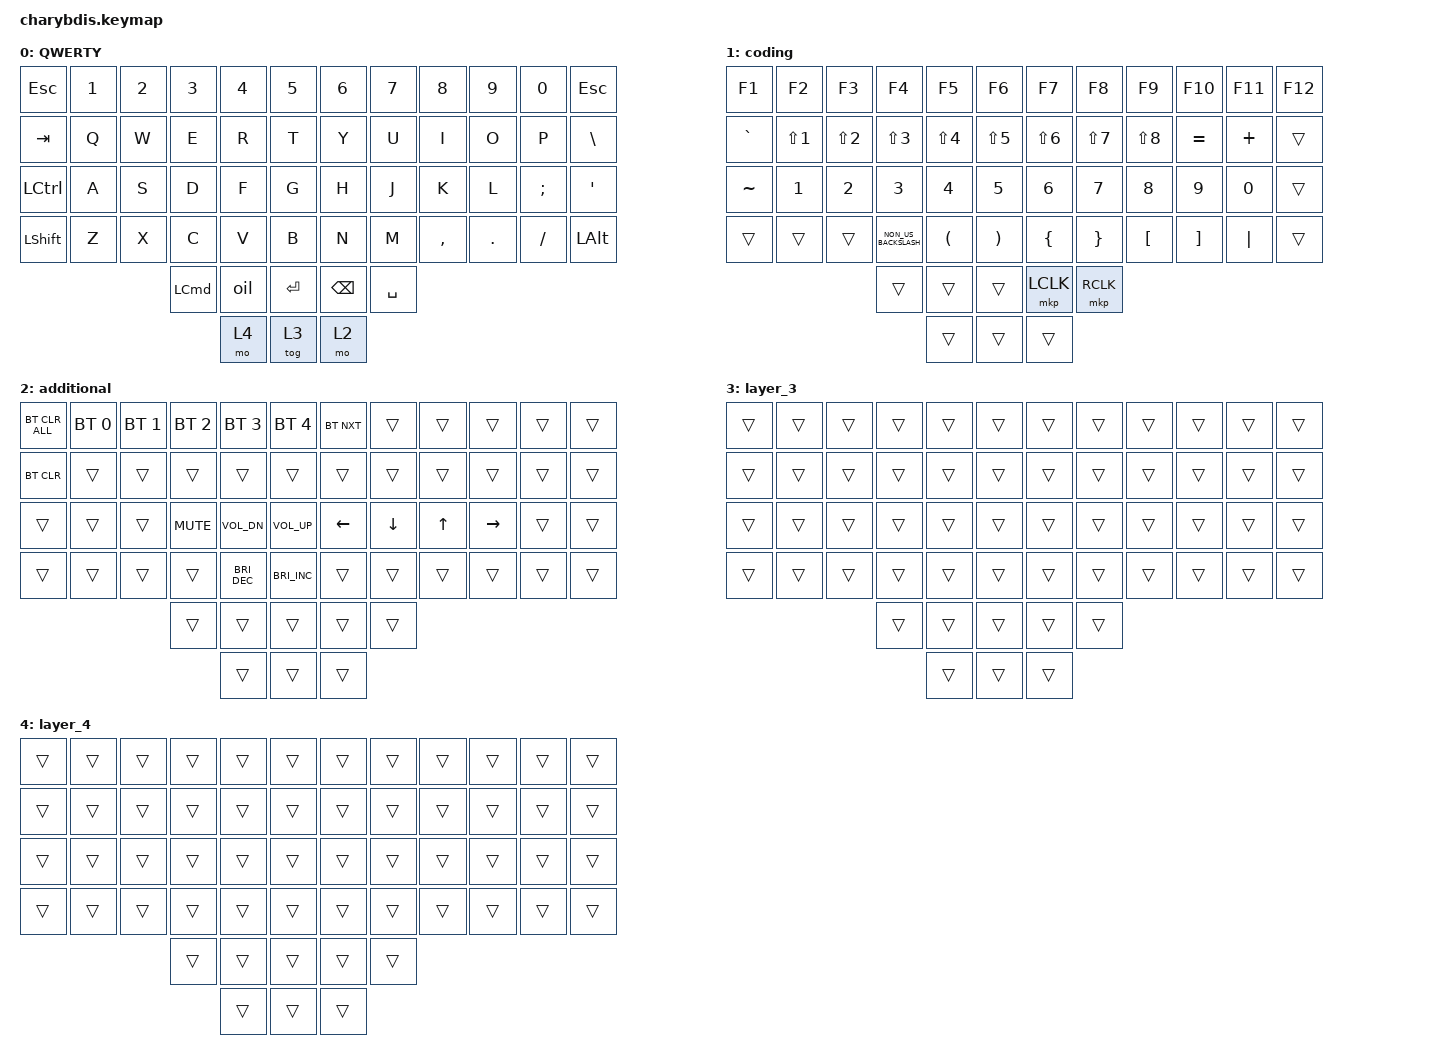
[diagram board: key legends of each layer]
#include <behaviors.dtsi>
#include <dt-bindings/zmk/bt.h>
#include <dt-bindings/zmk/keys.h>
#include <dt-bindings/zmk/pointing.h>

/ {
    behaviors {
        oil: oil {
            compatible = "zmk,behavior-tap-dance";
            label = "OIL";
            #binding-cells = <0>;
            tapping-term-ms = <200>;
            bindings = <&lt 1 MINUS>;
        };
    };

    keymap {
        compatible = "zmk,keymap";

        QWERTY {
            bindings = <
&kp ESC         &kp N1  &kp N2  &kp N3            &kp N4  &kp N5        &kp N6         &kp N7     &kp N8     &kp N9   &kp N0    &kp ESCAPE
&kp TAB         &kp Q   &kp W   &kp E             &kp R   &kp T         &kp Y          &kp U      &kp I      &kp O    &kp P     &kp BSLH
&kp LCTRL       &kp A   &kp S   &kp D             &kp F   &kp G         &kp H          &kp J      &kp K      &kp L    &kp SEMI  &kp SQT
&kp LEFT_SHIFT  &kp Z   &kp X   &kp C             &kp V   &kp B         &kp N          &kp M      &kp COMMA  &kp DOT  &kp FSLH  &kp LEFT_ALT
                                &kp LEFT_COMMAND  &oil    &kp RETURN    &kp BACKSPACE  &kp SPACE
                                                  &mo 4   &tog 3        &mo 2
            >;
        };

        coding {
            bindings = <
&kp F1     &kp F2            &kp F3            &kp F4                &kp F5                &kp F6                   &kp F7            &kp F8            &kp F9            &kp F10            &kp F11       &kp F12
&kp GRAVE  &kp LS(NUMBER_1)  &kp LS(NUMBER_2)  &kp LS(NUMBER_3)      &kp LS(NUMBER_4)      &kp LS(NUMBER_5)         &kp LS(NUMBER_6)  &kp LS(NUMBER_7)  &kp LS(NUMBER_8)  &kp EQUAL          &kp PLUS      &trans
&kp TILDE  &kp NUMBER_1      &kp NUMBER_2      &kp NUMBER_3          &kp NUMBER_4          &kp NUMBER_5             &kp NUMBER_6      &kp NUMBER_7      &kp NUMBER_8      &kp NUMBER_9       &kp NUMBER_0  &trans
&trans     &trans            &trans            &kp NON_US_BACKSLASH  &kp LEFT_PARENTHESIS  &kp RIGHT_PARENTHESIS    &kp LEFT_BRACE    &kp RIGHT_BRACE   &kp LEFT_BRACKET  &kp RIGHT_BRACKET  &kp PIPE      &trans
                                               &trans                &trans                &trans                   &mkp LCLK         &mkp RCLK
                                                                     &trans                &trans                   &trans
            >;
        };

        additional {
            bindings = <
&bt BT_CLR_ALL  &bt BT_SEL 0  &bt BT_SEL 1  &bt BT_SEL 2  &bt BT_SEL 3          &bt BT_SEL 4            &bt BT_NXT      &trans          &trans        &trans           &trans  &trans
&bt BT_CLR      &trans        &trans        &trans        &trans                &trans                  &trans          &trans          &trans        &trans           &trans  &trans
&trans          &trans        &trans        &kp K_MUTE    &kp C_VOL_DN          &kp C_VOLUME_UP         &kp LEFT_ARROW  &kp DOWN_ARROW  &kp UP_ARROW  &kp RIGHT_ARROW  &trans  &trans
&trans          &trans        &trans        &trans        &kp C_BRIGHTNESS_DEC  &kp C_BRIGHTNESS_INC    &trans          &trans          &trans        &trans           &trans  &trans
                                            &trans        &trans                &trans                  &trans          &trans
                                                          &trans                &trans                  &trans
            >;
        };

        layer_3 {
            bindings = <
&trans  &trans  &trans  &trans  &trans  &trans    &trans  &trans  &trans  &trans  &trans  &trans
&trans  &trans  &trans  &trans  &trans  &trans    &trans  &trans  &trans  &trans  &trans  &trans
&trans  &trans  &trans  &trans  &trans  &trans    &trans  &trans  &trans  &trans  &trans  &trans
&trans  &trans  &trans  &trans  &trans  &trans    &trans  &trans  &trans  &trans  &trans  &trans
                        &trans  &trans  &trans    &trans  &trans
                                &trans  &trans    &trans
            >;
        };

        layer_4 {
            bindings = <
&trans  &trans  &trans  &trans  &trans  &trans    &trans  &trans  &trans  &trans  &trans  &trans
&trans  &trans  &trans  &trans  &trans  &trans    &trans  &trans  &trans  &trans  &trans  &trans
&trans  &trans  &trans  &trans  &trans  &trans    &trans  &trans  &trans  &trans  &trans  &trans
&trans  &trans  &trans  &trans  &trans  &trans    &trans  &trans  &trans  &trans  &trans  &trans
                        &trans  &trans  &trans    &trans  &trans
                                &trans  &trans    &trans
            >;
        };
    };
};
